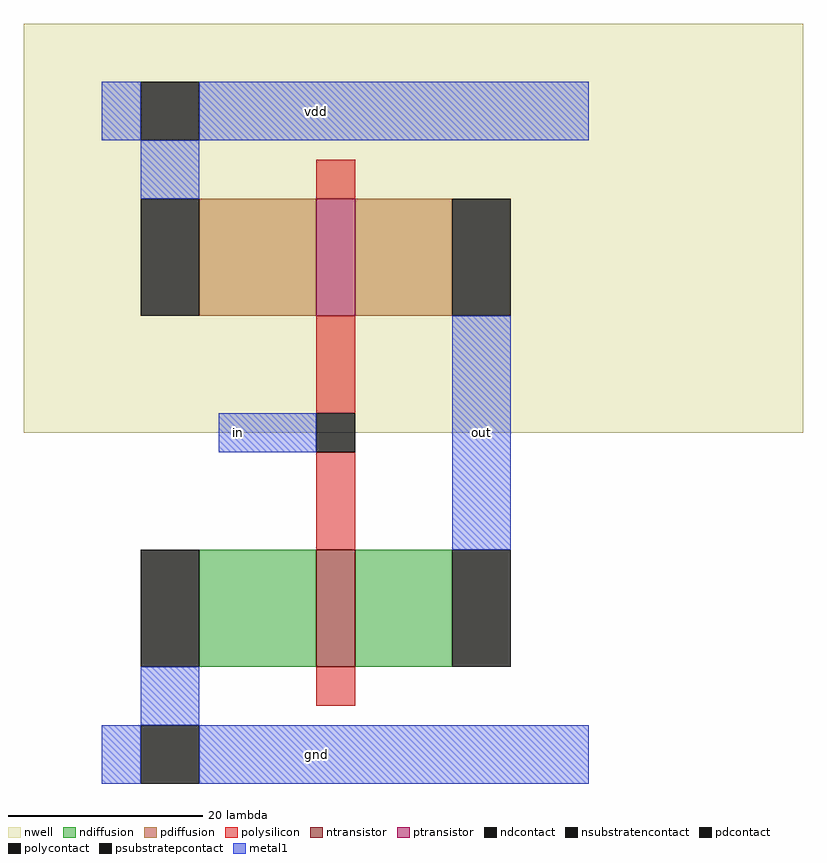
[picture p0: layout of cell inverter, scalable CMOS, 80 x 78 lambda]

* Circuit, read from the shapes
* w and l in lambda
.subckt inverter gnd in out vdd
M1 out in gnd gnd nfet w=12 l=4
M2 out in vdd vdd pfet w=12 l=4
.ends

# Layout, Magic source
magic
tech scmos
<< nwell >>
rect -34 -2 46 40
<< ntransistor >>
rect -4 -26 0 -14
<< ptransistor >>
rect -4 10 0 22
<< ndiffusion >>
rect -16 -26 -4 -14
rect 0 -26 10 -14
<< pdiffusion >>
rect -16 10 -4 22
rect 0 10 10 22
<< ndcontact >>
rect -22 -26 -16 -14
rect 10 -26 16 -14
<< pdcontact >>
rect -22 10 -16 22
rect 10 10 16 22
<< psubstratepcontact >>
rect -22 -38 -16 -32
<< nsubstratencontact >>
rect -22 28 -16 34
<< polysilicon >>
rect -4 22 0 26
rect -4 0 0 10
rect -4 -14 0 -4
rect -4 -30 0 -26
<< polycontact >>
rect -4 -4 0 0
<< metal1 >>
rect -26 28 -22 34
rect -16 28 24 34
rect -22 22 -16 28
rect -14 -4 -4 0
rect 10 -14 16 10
rect -22 -32 -16 -26
rect -26 -38 -22 -32
rect -16 -38 24 -32
<< labels >>
rlabel metal1 -4 31 -4 31 1 vdd
rlabel metal1 -4 -35 -4 -35 1 gnd
rlabel metal1 -12 -2 -12 -2 1 in
rlabel metal1 13 -2 13 -2 1 out
<< end >>
